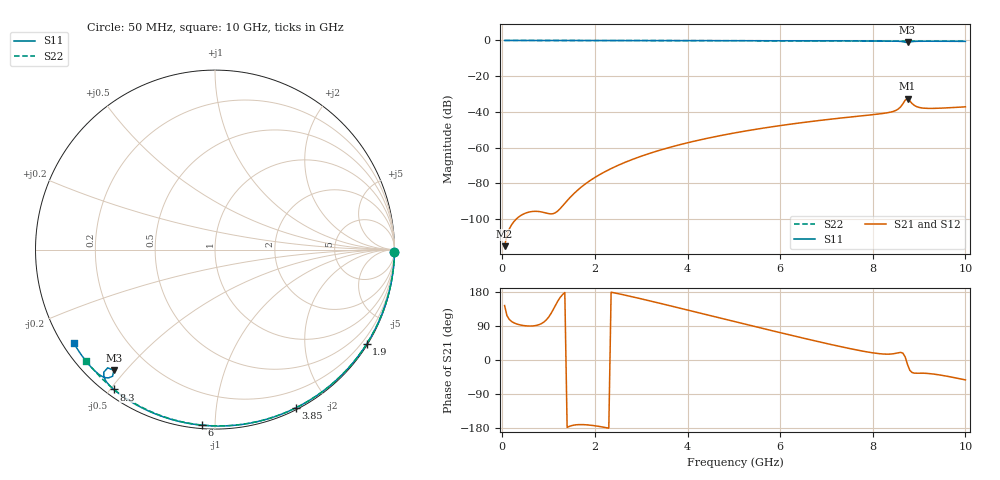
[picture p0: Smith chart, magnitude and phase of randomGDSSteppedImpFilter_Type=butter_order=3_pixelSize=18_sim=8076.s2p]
! freq	dB(S11)	phase(S11)	dB(S12)	phase(S12)
!  dB(S21)	phase(S21)	dB(S22)	phase(S22)
!S-par simulation data
#  GHz  S  DB  R 50
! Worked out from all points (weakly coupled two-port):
!   200 points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, 50 MHz to 10 GHz, reference 50 ohm
!   highest |S21| = -32.67 dB at 8.75 GHz (marker M1); lowest = -115.2 dB at 50 MHz (marker M2)
!   lowest |S11| = -1.1 dB at 8.75 GHz (marker M3), VSWR 15.35, Z = 3.96 - j23.2 ohm
!   |S11| at or under -10 dB: nowhere
!   |S22| runs from -0.5 to 0.0 dB; largest |S21 - S12| = 0
!   S11 on the Smith chart (normalised r, x): 50 MHz: open; 1.9 GHz: 0.03, -3.49; 3.85 GHz: 0.02, -1.63; 6 GHz: 0.02, -0.93; 8.3 GHz: 0.02, -0.51; 10 GHz: 0.03, -0.30
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0.05  -0.00 -0.9  -115.21 143.6  -115.21 143.6  -0.00 -0.8
0.9  -0.02 -15.3  -96.35 100.3  -96.35 100.3  -0.02 -14.4
1.75  -0.04 -29.5  -81.20 -170.6  -81.20 -170.6  -0.04 -27.8
1.8  -0.04 -30.3  -80.21 -170.9  -80.21 -170.9  -0.04 -28.6
1.9  -0.04 -32.0  -78.39 -172.0  -78.39 -172.0  -0.04 -30.1
2.2  -0.05 -36.9  -73.74 -177.5  -73.74 -177.5  -0.04 -34.8
2.55  -0.05 -42.5  -69.37 173.8  -69.37 173.8  -0.05 -40.1
3.4  -0.07 -56.0  -61.47 149.8  -61.47 149.8  -0.07 -52.9
3.85  -0.09 -62.9  -58.27 136.4  -58.27 136.4  -0.08 -59.5
5.05  -0.12 -80.8  -51.63 100.4  -51.63 100.4  -0.12 -76.4
6  -0.16 -94.3  -47.68 72.2  -47.68 72.2  -0.16 -89.3
6.7  -0.20 -104.0  -45.28 52.0  -45.28 52.0  -0.19 -98.4
8.3  -0.34 -125.9  -40.57 15.4  -40.57 15.4  -0.30 -118.6
8.35  -0.35 -126.7  -40.34 15.5  -40.34 15.5  -0.31 -119.2
8.55  -0.45 -130.1  -38.40 19.1  -38.40 19.1  -0.33 -121.6
8.6  -0.54 -131.2  -37.23 20.1  -37.23 20.1  -0.33 -122.2
8.7  -1.02 -132.2  -33.42 8.1  -33.42 8.1  -0.34 -123.4
8.75  -1.13 -130.0  -32.67 -11.7  -32.67 -11.7  -0.33 -124.0
8.9  -0.53 -130.7  -36.42 -34.7  -36.42 -34.7  -0.34 -125.9
9.05  -0.44 -133.4  -37.76 -34.7  -37.76 -34.7  -0.36 -127.7
9.35  -0.44 -137.9  -38.02 -37.7  -38.02 -37.7  -0.40 -131.4
10  -0.51 -146.6  -37.18 -52.6  -37.18 -52.6  -0.47 -139.3
